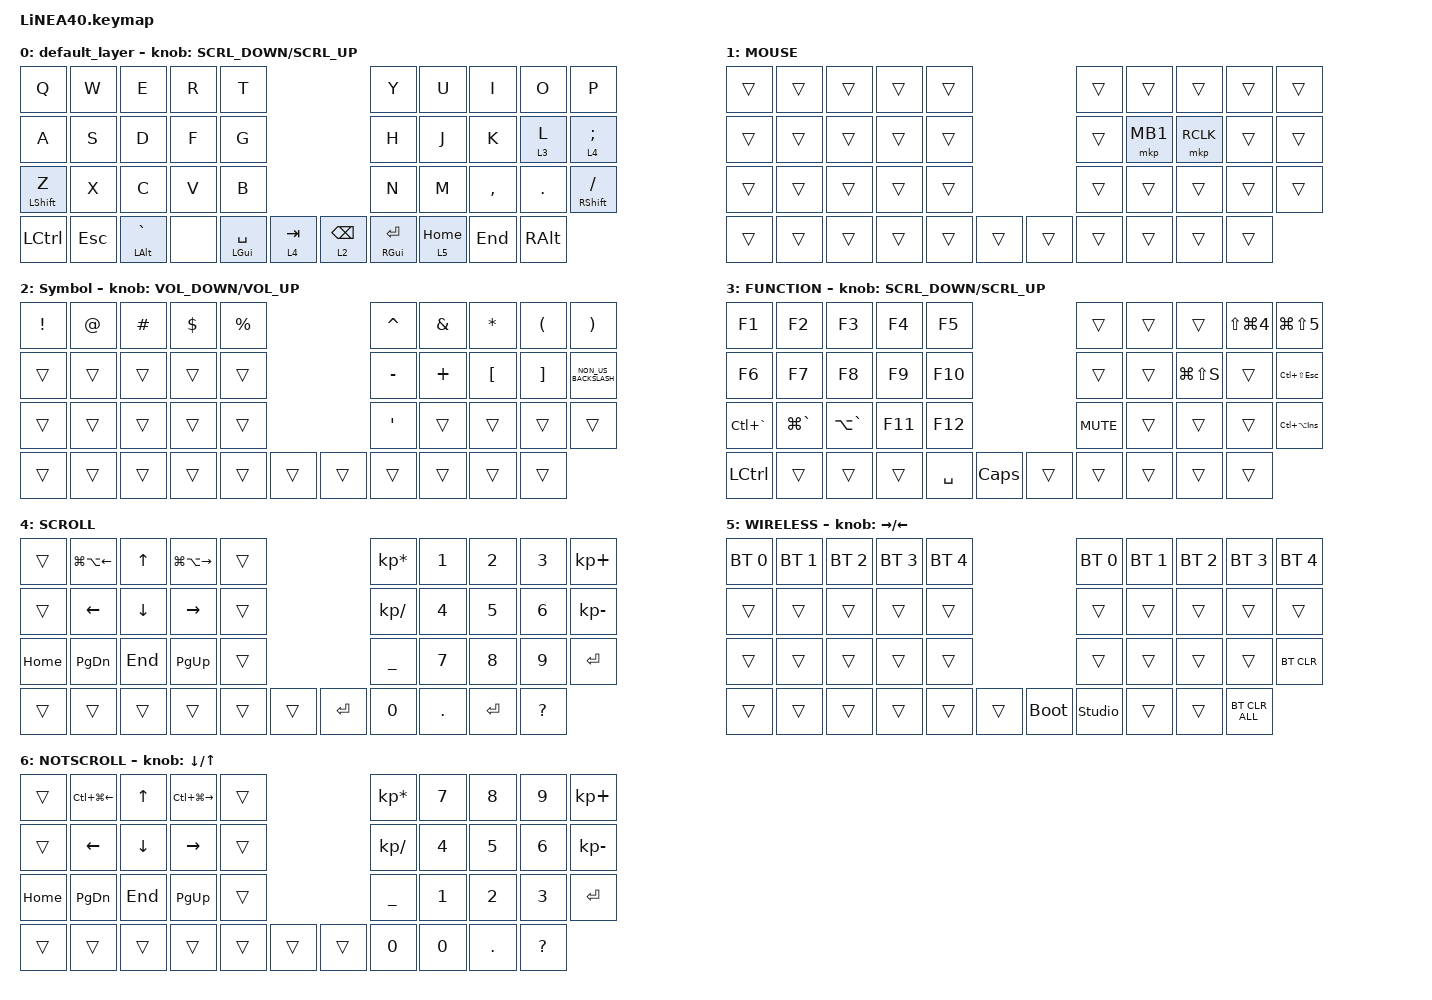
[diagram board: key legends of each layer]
#define ZMK_POINTING_DEFAULT_SCRL_VAL 150

#include <dt-bindings/zmk/input_transform.h>
#include <input/processors.dtsi>
#include <zephyr/dt-bindings/input/input-event-codes.h>
#include <behaviors.dtsi>
#include <dt-bindings/zmk/bt.h>
#include <dt-bindings/zmk/keys.h>
#include <dt-bindings/zmk/pointing.h>

#define MOUSE 1
#define MARK 2
#define CURSOR 3
#define FUNCTION 4
#define SCROLL 5
#define WIRELESS 6

//mouse cursol

&mmv {
    delay-ms = <20>;
    trigger-period-ms = <5>;
    time-to-max-speed-ms = <100>;
    acceleration-exponent = <2>;
};

//mouse scroll

&msc {
    delay-ms = <3>;
    trigger-period-ms = <3>;
    time-to-max-speed-ms = <100>;
    acceleration-exponent = <0>;
};

/ {
    input_processors {
        zip_wheel_scaler: zip_wheel_scaler {
            compatible = "zmk,input-processor-scaler";
            #input-processor-cells = <2>;
            type = <INPUT_EV_REL>;
            codes = <INPUT_REL_WHEEL>;
            track-remainders;
        };
    };
};

&msc_input_listener {
    speed_up {
        layers = <FUNCTION>;
        input-processors = <&zip_wheel_scaler 3 1>; //スクロールを3倍速にする
    };
};

&trackball_listener {
    scroller {
        layers = <SCROLL>;
        input-processors =
            <&zip_xy_transform INPUT_TRANSFORM_Y_INVERT>,
            //スクロール方向を逆転,,,,,,,,,,
            <&zip_xy_to_scroll_mapper>;
    };
};

/ {
    combos {
        compatible = "zmk,combos";

        ZenkakuHankaku {
            bindings = <&kp GRAVE>;
            key-positions = <11 12>;
        };

        DeleteKey {
            bindings = <&kp DEL>;
            key-positions = <7 8>;
        };

        InsertKey {
            bindings = <&kp INS>;
            key-positions = <6 7>;
        };

        LeftClick {
            bindings = <&mkp LCLK>;
            key-positions = <17 16>;
        };

        RightClick {
            bindings = <&mkp MB2>;
            key-positions = <18 17>;
        };

        PrevClick {
            bindings = <&mkp MB4>;
            key-positions = <27 28>;
        };

        ClickNext {
            bindings = <&mkp MB5>;
            key-positions = <26 27>;
        };

        Wireless {
            bindings = <&mo 5>;
            key-positions = <8 9>;
        };
    };

    behaviors {
        re_kp: sensor_rotate_kp {
            compatible = "zmk,behavior-sensor-rotate-var";
            #sensor-binding-cells = <2>;
            bindings = <&kp>, <&kp>;
        };

        mouse_scrl: mouse_wheel_scrl {
            compatible = "zmk,behavior-sensor-rotate-var";
            #sensor-binding-cells = <2>;
            bindings = <&msc>, <&msc>;

            tap-ms = <20>;
        };
    };

    keymap {
        compatible = "zmk,keymap";

        default_layer {
            bindings = <
&kp Q             &kp W       &kp E               &kp R  &kp T                                             &kp Y                &kp U  &kp I       &kp O    &kp P
&kp A             &kp S       &kp D               &kp F  &kp G                                             &kp H                &kp J  &kp K       &lt 3 L  &lt 4 SEMICOLON
&mt LEFT_SHIFT Z  &kp X       &kp C               &kp V  &kp B                                             &kp N                &kp M  &kp COMMA   &kp DOT  &mt RIGHT_SHIFT SLASH
&kp LCTRL         &kp ESCAPE  &mt LEFT_ALT GRAVE  &none  &mt LEFT_GUI SPACE  &lt 4 TAB    &lt 2 BACKSPACE  &mt RIGHT_GUI ENTER         &lt 5 HOME  &kp END  &kp RIGHT_ALT
            >;

            sensor-bindings = <&mouse_scrl SCRL_DOWN SCRL_UP>;
        };

        MOUSE {
            bindings = <
&trans  &trans  &trans  &trans  &trans                    &trans  &trans    &trans     &trans  &trans
&trans  &trans  &trans  &trans  &trans                    &trans  &mkp MB1  &mkp RCLK  &trans  &trans
&trans  &trans  &trans  &trans  &trans                    &trans  &trans    &trans     &trans  &trans
&trans  &trans  &trans  &trans  &trans  &trans    &trans  &trans            &trans     &trans  &trans
            >;
        };

        Symbol {
            bindings = <
&kp EXCLAMATION  &kp AT  &kp HASH  &kp DOLLAR  &kp PERCENT                    &kp CARET  &kp AMPERSAND  &kp ASTERISK      &kp LEFT_PARENTHESIS  &kp RIGHT_PARENTHESIS
&trans           &trans  &trans    &trans      &trans                         &kp MINUS  &kp PLUS       &kp LEFT_BRACKET  &kp RIGHT_BRACKET     &kp NON_US_BACKSLASH
&trans           &trans  &trans    &trans      &trans                         &kp SQT    &trans         &trans            &trans                &trans
&trans           &trans  &trans    &trans      &trans       &trans    &trans  &trans                    &trans            &trans                &trans
            >;

            sensor-bindings = <&re_kp C_VOLUME_DOWN C_VOLUME_UP>;
        };

        FUNCTION {
            bindings = <
&kp F1            &kp F2         &kp F3         &kp F4   &kp F5                             &trans      &trans  &trans         &kp LS(LG(NUMBER_4))  &kp LG(LS(N5))
&kp F6            &kp F7         &kp F8         &kp F9   &kp F10                            &trans      &trans  &kp LG(LS(S))  &trans                &kp LC(LS(ESCAPE))
&kp LC(GRAVE)     &kp LG(GRAVE)  &kp LA(GRAVE)  &kp F11  &kp F12                            &kp C_MUTE  &trans  &trans         &trans                &kp LC(LA(INS))
&kp LEFT_CONTROL  &trans         &trans         &trans   &kp SPACE  &kp CAPSLOCK    &trans  &trans              &trans         &trans                &trans
            >;

            sensor-bindings = <&mouse_scrl SCRL_DOWN SCRL_UP>;
        };

        SCROLL {
            bindings = <
&trans    &kp LG(LA(LEFT_ARROW))  &kp UP_ARROW  &kp LG(LA(RIGHT_ARROW))  &trans                       &kp KP_MULTIPLY  &kp NUMBER_1  &kp NUMBER_2  &kp NUMBER_3  &kp KP_PLUS
&trans    &kp LEFT_ARROW          &kp DOWN      &kp RIGHT_ARROW          &trans                       &kp KP_SLASH     &kp NUMBER_4  &kp NUMBER_5  &kp NUMBER_6  &kp KP_MINUS
&kp HOME  &kp PAGE_DOWN           &kp END       &kp PAGE_UP              &trans                       &kp UNDER        &kp NUMBER_7  &kp N8        &kp N9        &kp ENTER
&trans    &trans                  &trans        &trans                   &trans  &trans    &kp ENTER  &kp NUMBER_0                   &kp DOT       &kp ENTER     &kp QUESTION
            >;
        };

        WIRELESS {
            bindings = <
&bt BT_SEL 0  &bt BT_SEL 1  &bt BT_SEL 2  &bt BT_SEL 3  &bt BT_SEL 4                         &bt BT_SEL 0    &bt BT_SEL 1  &bt BT_SEL 2  &bt BT_SEL 3  &bt BT_SEL 4
&trans        &trans        &trans        &trans        &trans                               &trans          &trans        &trans        &trans        &trans
&trans        &trans        &trans        &trans        &trans                               &trans          &trans        &trans        &trans        &bt BT_CLR
&trans        &trans        &trans        &trans        &trans        &trans    &bootloader  &studio_unlock                &trans        &trans        &bt BT_CLR_ALL
            >;

            sensor-bindings = <&inc_dec_kp RIGHT_ARROW LEFT_ARROW>;
        };

        NOTSCROLL {
            bindings = <
&trans    &kp LC(LG(LEFT_ARROW))  &kp UP_ARROW  &kp LC(LG(RIGHT_ARROW))  &trans                    &kp KP_MULTIPLY  &kp NUMBER_7  &kp NUMBER_8  &kp NUMBER_9  &kp KP_PLUS
&trans    &kp LEFT_ARROW          &kp DOWN      &kp RIGHT_ARROW          &trans                    &kp KP_SLASH     &kp NUMBER_4  &kp NUMBER_5  &kp NUMBER_6  &kp KP_MINUS
&kp HOME  &kp PAGE_DOWN           &kp END       &kp PAGE_UP              &trans                    &kp UNDER        &kp NUMBER_1  &kp NUMBER_2  &kp NUMBER_3  &kp ENTER
&trans    &trans                  &trans        &trans                   &trans  &trans    &trans  &kp NUMBER_0                   &kp NUMBER_0  &kp DOT       &kp QUESTION
            >;

            sensor-bindings = <&inc_dec_kp DOWN_ARROW UP_ARROW>;
        };
    };
};
